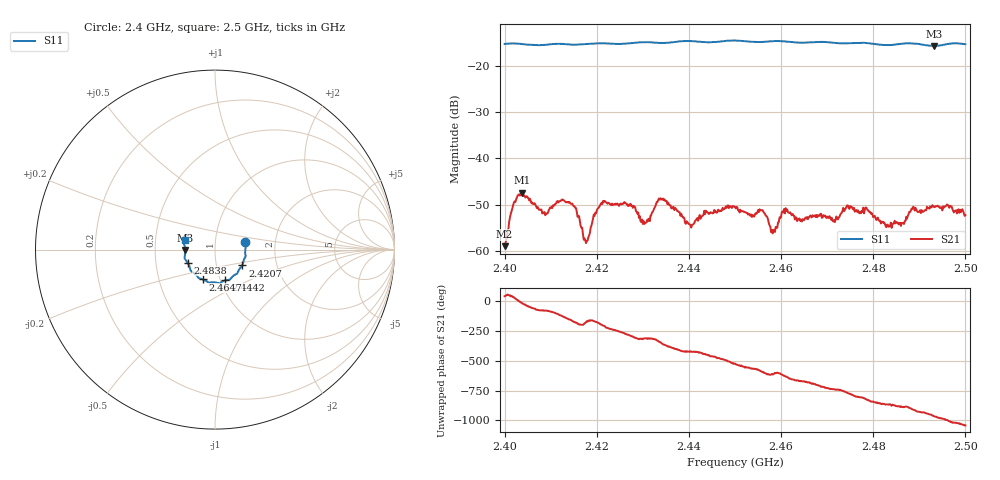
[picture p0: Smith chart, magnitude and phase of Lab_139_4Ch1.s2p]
# Hz S RI R 50
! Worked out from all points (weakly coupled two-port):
!   601 points, 2.4 GHz to 2.5 GHz, reference 50 ohm
!   highest |S21| = -47.38 dB at 2.4038 GHz (marker M1); lowest = -59.0 dB at 2.4 GHz (marker M2)
!   lowest |S11| = -15.6 dB at 2.4932 GHz (marker M3), VSWR 1.40, Z = 35.8 - j0.146 ohm
!   |S11| at or under -10 dB: start of sweep to end of sweep
!   S12 and S22 are empty: the file has one direction only
!   S11 on the Smith chart (normalised r, x): 2.4 GHz: 1.40, +0.12; 2.4207 GHz: 1.33, -0.24; 2.4442 GHz: 1.05, -0.37; 2.4647 GHz: 0.83, -0.29; 2.4838 GHz: 0.73, -0.11; 2.5 GHz: 0.71, +0.07
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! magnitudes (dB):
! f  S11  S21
! 2.4 GHz  -15.2  -59.0
! 2.4018 GHz  -15.1  -50.2
! 2.4038 GHz  -15.2  -47.4
! 2.4087 GHz  -15.4  -51.6
! 2.4142 GHz  -15.3  -49.5
! 2.4167 GHz  -15.3  -55.0
! 2.418 GHz  -15.2  -57.8
! 2.4207 GHz  -15.1  -50.2
! 2.4305 GHz  -14.8  -54.0
! 2.4333 GHz  -15.0  -49.0
! 2.4403 GHz  -14.6  -54.4
! 2.4442 GHz  -14.9  -51.8
! 2.45 GHz  -14.5  -50.5
! 2.4582 GHz  -14.6  -56.3
! 2.4608 GHz  -14.7  -51.9
! 2.4647 GHz  -14.9  -53.2
! 2.4667 GHz  -14.8  -52.8
! 2.4748 GHz  -15.1  -50.9
! 2.4833 GHz  -15.5  -54.8
! 2.4838 GHz  -15.4  -53.9
! 2.4932 GHz  -15.6  -50.5
! 2.5 GHz  -15.3  -52.3
